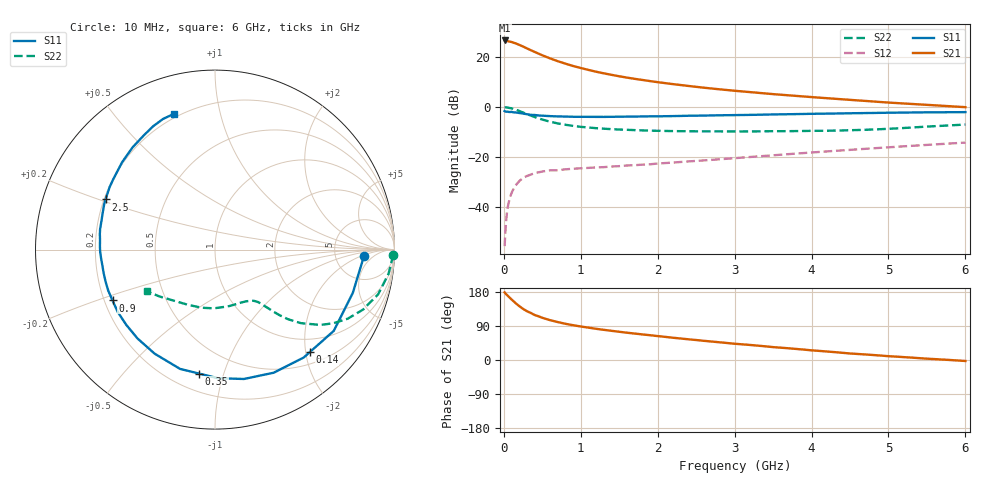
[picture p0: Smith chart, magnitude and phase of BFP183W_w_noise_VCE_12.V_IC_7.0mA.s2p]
! Infineon Technologies  Discrete & RF Semiconductors
! BFP183W
! VCE =  12. V,  IC =  7.0 mA
! Common Emitter S-Parameters:  Jan 2017
# GHz  S  MA  R  50
!  f  S11  S21  S12  S22
! GHz  MAG  ANG  MAG  ANG  MAG  ANG  MAG  ANG
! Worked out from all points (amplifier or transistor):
!   77 points, 10 MHz to 6 GHz, reference 50 ohm
!   highest |S21| = 26.8 dB at 10 MHz (marker M1)
!   |S21| within 3 dB of that: start of sweep to 287.4 MHz
!   unconditionally stable (mu >= 1): 1.974 GHz to 3.996 GHz
!   at 130 MHz: K = 0.12, MSG = 29.3 dB, |S12| = -32.7 dB
!   at 2.2 GHz: K = 1.04, MAG = 14.6 dB, |S12| = -22.3 dB
!   at 6 GHz: K = 0.82, MSG = 7.1 dB, |S12| = -14.3 dB
!   lowest NFmin = 0.82 dB at 450 MHz
!   S11 on the Smith chart (normalised r, x): 10 MHz: 10, -2; 140 MHz: 0.72, -2.08; 350 MHz: 0.31, -0.83; 900 MHz: 0.23, -0.22; 2.5 GHz: 0.21, +0.21; 6 GHz: 0.18, +0.72
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0.01  0.8305 -2.6  21.78 178.4  0.0016 88.2  0.9906 -1.6
0.02  0.8141 -8.2  21.51 175.5  0.0031 89.7  0.9879 -3.3
0.05  0.8049 -17.4  21.12 169.7  0.0096 77.1  0.9763 -7.9
0.1  0.8018 -34.4  20.32 159.7  0.0187 72.9  0.9426 -15.3
0.14  0.7779 -47.3  19.32 152.5  0.0247 66.0  0.9 -20.6
0.2  0.7599 -64.5  17.78 142.2  0.0324 58.9  0.8337 -27.5
0.25  0.7386 -77.4  16.43 134.9  0.0378 53.1  0.7766 -31.9
0.3  0.7169 -88.6  15.09 128.8  0.0411 49.1  0.7214 -35.6
0.35  0.6964 -97.3  13.9 124.2  0.0439 46.0  0.6749 -37.9
0.4  0.6926 -106.3  12.82 118.8  0.0469 43.2  0.6296 -40.6
0.5  0.6703 -120.1  10.95 111.4  0.0506 38.8  0.5601 -43.7
0.6  0.657 -131.1  9.514 105.2  0.0534 36.3  0.5086 -45.6
0.7  0.6482 -139.8  8.349 100.1  0.0537 35.1  0.4687 -46.9
0.9  0.6374 -153.6  6.681 91.8  0.0575 33.8  0.4181 -48.7
1.1  0.6353 -163.6  5.57 85.4  0.0599 34.1  0.3879 -50.0
1.5  0.6398 -178.7  4.151 74.5  0.0649 36.4  0.3531 -53.8
2.1  0.6541 164.5  3.021 61.0  0.0749 40.9  0.3307 -62.4
2.5  0.6706 155.4  2.547 52.7  0.0827 43.6  0.3252 -70.1
3.1  0.6919 143.7  2.059 41.3  0.0965 46.3  0.3233 -82.5
4.1  0.7341 127.6  1.545 24.0  0.1252 47.2  0.3329 -105.5
5.1  0.7713 115.6  1.204 8.9  0.1587 45.1  0.372 -131.1
6  0.7899 107.0  0.994 -2.6  0.1929 40.8  0.4453 -148.6
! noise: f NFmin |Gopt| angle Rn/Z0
0.45  0.82  0.16  68  0.11
0.9  0.91  0.21  112  0.1
1.9  1.45  0.39  172  0.07
2.4  1.71  0.45  -173  0.09
